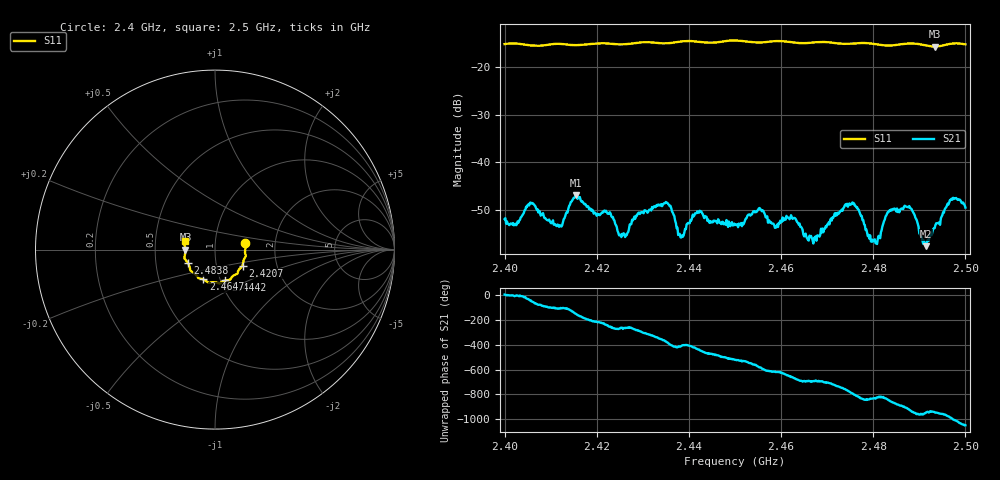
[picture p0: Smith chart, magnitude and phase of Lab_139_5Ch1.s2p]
# Hz S RI R 50
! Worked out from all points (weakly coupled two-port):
!   601 points, 2.4 GHz to 2.5 GHz, reference 50 ohm
!   highest |S21| = -46.95 dB at 2.4155 GHz (marker M1); lowest = -57.6 dB at 2.4915 GHz (marker M2)
!   lowest |S11| = -15.7 dB at 2.4933 GHz (marker M3), VSWR 1.39, Z = 35.9 - j0.0639 ohm
!   |S11| at or under -10 dB: start of sweep to end of sweep
!   S12 and S22 are empty: the file has one direction only
!   S11 on the Smith chart (normalised r, x): 2.4 GHz: 1.40, +0.11; 2.4207 GHz: 1.34, -0.25; 2.4442 GHz: 1.06, -0.37; 2.4647 GHz: 0.83, -0.29; 2.4838 GHz: 0.73, -0.11; 2.5 GHz: 0.71, +0.07
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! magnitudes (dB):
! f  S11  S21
! 2.4 GHz  -15.2  -51.9
! 2.406 GHz  -15.5  -48.5
! 2.412 GHz  -15.1  -53.2
! 2.4155 GHz  -15.4  -47.0
! 2.4167 GHz  -15.3  -48.2
! 2.4207 GHz  -15.0  -51.1
! 2.4258 GHz  -15.2  -54.9
! 2.4333 GHz  -14.9  -48.9
! 2.4382 GHz  -14.6  -55.8
! 2.4442 GHz  -14.9  -52.0
! 2.45 GHz  -14.4  -53.2
! 2.4555 GHz  -14.8  -49.9
! 2.4647 GHz  -15.0  -54.2
! 2.4667 GHz  -14.8  -55.9
! 2.4753 GHz  -15.1  -48.7
! 2.4805 GHz  -15.2  -57.0
! 2.4833 GHz  -15.5  -50.5
! 2.4838 GHz  -15.5  -49.9
! 2.488 GHz  -15.0  -49.6
! 2.4915 GHz  -15.5  -57.6
! 2.4933 GHz  -15.7  -53.8
! 2.5 GHz  -15.2  -49.5
